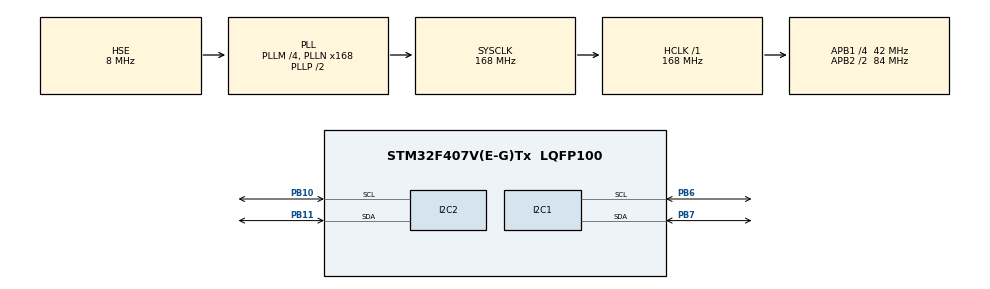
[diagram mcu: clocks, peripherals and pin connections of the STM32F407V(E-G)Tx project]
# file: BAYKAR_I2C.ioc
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I2C1.I2C_Mode=I2C_Fast
I2C2.I2C_Mode=I2C_Fast
Mcu.Family=STM32F4
Mcu.Name=STM32F407V(E-G)Tx
Mcu.Package=LQFP100
NVIC.I2C1_EV_IRQn=true\:0\:0\:false\:false\:true\:true\:true\:true
NVIC.I2C2_EV_IRQn=true\:0\:0\:false\:false\:true\:true\:true\:true
NVIC.PriorityGroup=NVIC_PRIORITYGROUP_0
PA13.Mode=Serial_Wire
PA13.Signal=SYS_JTMS-SWDIO
PA14.Mode=Serial_Wire
PA14.Signal=SYS_JTCK-SWCLK
PB10.Mode=I2C
PB10.Signal=I2C2_SCL
PB11.Mode=I2C
PB11.Signal=I2C2_SDA
PB6.Mode=I2C
PB6.Signal=I2C1_SCL
PB7.Mode=I2C
PB7.Signal=I2C1_SDA
PH0-OSC_IN.Mode=HSE-External-Oscillator
PH0-OSC_IN.Signal=RCC_OSC_IN
PH1-OSC_OUT.Mode=HSE-External-Oscillator
PH1-OSC_OUT.Signal=RCC_OSC_OUT
ProjectManager.HeapSize=0x200
ProjectManager.StackSize=0x400
ProjectManager.TargetToolchain=STM32CubeIDE
RCC.48MHZClocksFreq_Value=48000000
RCC.AHBFreq_Value=168000000
RCC.APB1CLKDivider=RCC_HCLK_DIV4
RCC.APB1Freq_Value=42000000
RCC.APB1TimFreq_Value=84000000
RCC.APB2CLKDivider=RCC_HCLK_DIV2
RCC.APB2Freq_Value=84000000
RCC.APB2TimFreq_Value=168000000
RCC.CortexFreq_Value=168000000
RCC.HCLKFreq_Value=168000000
RCC.HSE_VALUE=8000000
RCC.HSI_VALUE=16000000
RCC.LSE_VALUE=32768
RCC.PLLM=4
RCC.PLLN=168
RCC.PLLQ=7
RCC.PLLSourceVirtual=RCC_PLLSOURCE_HSE
RCC.SYSCLKFreq_VALUE=168000000
RCC.SYSCLKSource=RCC_SYSCLKSOURCE_PLLCLK
RCC.VCOOutputFreq_Value=336000000
board=STM32F407G-DISC1

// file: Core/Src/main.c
/* USER CODE BEGIN Header */
/**
  ******************************************************************************
  * @file           : main.c
  * @brief          : Main program body
  ******************************************************************************
  * @attention
  *
  * Copyright (c) 2022 STMicroelectronics.
  * All rights reserved.
  *
  * This software is licensed under terms that can be found in the LICENSE file
  * in the root directory of this software component.
  * If no LICENSE file comes with this software, it is provided AS-IS.
  *
  ******************************************************************************
  */
/* USER CODE END Header */
#include "main.h"

 I2C_HandleTypeDef hi2c1;
I2C_HandleTypeDef hi2c2;

void SystemClock_Config(void);
static void MX_GPIO_Init(void);
static void MX_I2C1_Init(void);
static void MX_I2C2_Init(void);
/* USER CODE BEGIN PFP */
char i2c_veri[4] = {'\0','\0','\0','\0'};
uint8_t dataRx[5];

/* USER CODE END PFP */

int main(void)
{

  /* MCU Configuration--------------------------------------------------------*/

  /* Reset of all peripherals, Initializes the Flash interface and the Systick. */
  HAL_Init();

  /* Configure the system clock */
  SystemClock_Config();

  /* Initialize all configured peripherals */
  MX_GPIO_Init();
  MX_I2C1_Init();
  MX_I2C2_Init();
  /* USER CODE BEGIN 2 */
  if(HAL_I2C_Slave_Receive_IT(&hi2c2, dataRx, 5)!=HAL_OK){
	  Error_Handler();
  }
  /* USER CODE END 2 */

  /* Infinite loop */
  while (1)
  {

  }
}

void SystemClock_Config(void)
{
  RCC_OscInitTypeDef RCC_OscInitStruct = {0};
  RCC_ClkInitTypeDef RCC_ClkInitStruct = {0};

  /** Configure the main internal regulator output voltage
  */
  __HAL_RCC_PWR_CLK_ENABLE();
  __HAL_PWR_VOLTAGESCALING_CONFIG(PWR_REGULATOR_VOLTAGE_SCALE1);

  /** Initializes the RCC Oscillators according to the specified parameters
  * in the RCC_OscInitTypeDef structure.
  */
  RCC_OscInitStruct.OscillatorType = RCC_OSCILLATORTYPE_HSE;
  RCC_OscInitStruct.HSEState = RCC_HSE_ON;
  RCC_OscInitStruct.PLL.PLLState = RCC_PLL_ON;
  RCC_OscInitStruct.PLL.PLLSource = RCC_PLLSOURCE_HSE;
  RCC_OscInitStruct.PLL.PLLM = 4;
  RCC_OscInitStruct.PLL.PLLN = 168;
  RCC_OscInitStruct.PLL.PLLP = RCC_PLLP_DIV2;
  RCC_OscInitStruct.PLL.PLLQ = 7;
  if (HAL_RCC_OscConfig(&RCC_OscInitStruct) != HAL_OK)
  {
    Error_Handler();
  }

  /** Initializes the CPU, AHB and APB buses clocks
  */
  RCC_ClkInitStruct.ClockType = RCC_CLOCKTYPE_HCLK|RCC_CLOCKTYPE_SYSCLK
                              |RCC_CLOCKTYPE_PCLK1|RCC_CLOCKTYPE_PCLK2;
  RCC_ClkInitStruct.SYSCLKSource = RCC_SYSCLKSOURCE_PLLCLK;
  RCC_ClkInitStruct.AHBCLKDivider = RCC_SYSCLK_DIV1;
  RCC_ClkInitStruct.APB1CLKDivider = RCC_HCLK_DIV4;
  RCC_ClkInitStruct.APB2CLKDivider = RCC_HCLK_DIV2;

  if (HAL_RCC_ClockConfig(&RCC_ClkInitStruct, FLASH_LATENCY_5) != HAL_OK)
  {
    Error_Handler();
  }
}

static void MX_I2C1_Init(void)
{

  hi2c1.Instance = I2C1;
  hi2c1.Init.ClockSpeed = 400000;
  hi2c1.Init.DutyCycle = I2C_DUTYCYCLE_2;
  hi2c1.Init.OwnAddress1 = 0;
  hi2c1.Init.AddressingMode = I2C_ADDRESSINGMODE_7BIT;
  hi2c1.Init.DualAddressMode = I2C_DUALADDRESS_DISABLE;
  hi2c1.Init.OwnAddress2 = 0;
  hi2c1.Init.GeneralCallMode = I2C_GENERALCALL_DISABLE;
  hi2c1.Init.NoStretchMode = I2C_NOSTRETCH_DISABLE;
  if (HAL_I2C_Init(&hi2c1) != HAL_OK)
  {
    Error_Handler();
  }

}

static void MX_I2C2_Init(void)
{

  hi2c2.Instance = I2C2;
  hi2c2.Init.ClockSpeed = 400000;
  hi2c2.Init.DutyCycle = I2C_DUTYCYCLE_2;
  hi2c2.Init.OwnAddress1 = 0;
  hi2c2.Init.AddressingMode = I2C_ADDRESSINGMODE_7BIT;
  hi2c2.Init.DualAddressMode = I2C_DUALADDRESS_DISABLE;
  hi2c2.Init.OwnAddress2 = 0;
  hi2c2.Init.GeneralCallMode = I2C_GENERALCALL_DISABLE;
  hi2c2.Init.NoStretchMode = I2C_NOSTRETCH_DISABLE;
  if (HAL_I2C_Init(&hi2c2) != HAL_OK)
  {
    Error_Handler();
  }

}

static void MX_GPIO_Init(void)
{

  /* GPIO Ports Clock Enable */
  __HAL_RCC_GPIOH_CLK_ENABLE();
  __HAL_RCC_GPIOB_CLK_ENABLE();
  __HAL_RCC_GPIOA_CLK_ENABLE();

}

/* USER CODE BEGIN 4 */
void HAL_I2C_SlaveRxCpltCallback(I2C_HandleTypeDef *hi2c)
{
	HAL_I2C_Slave_Transmit(&hi2c2, (uint8_t*)i2c_veri, 5, HAL_MAX_DELAY);
	if(i2c_veri[0]<255){
		i2c_veri[0]++;
	}
	if(i2c_veri[0]==255 && i2c_veri[1]<255){
		i2c_veri[1]++;
	}
	if(i2c_veri[1]==255 && i2c_veri[2]<255){
		i2c_veri[2]++;
	}
	if(i2c_veri[2]==255 && i2c_veri[3]<255){
		i2c_veri[3]++;
	}
	if(i2c_veri[3]==255){
		memset(&i2c_veri,'\0',4);
	}
	if(HAL_I2C_Slave_Receive_IT(&hi2c2, dataRx, 5)!=HAL_OK){
		Error_Handler();
	}
}
/* USER CODE END 4 */

void Error_Handler(void)
{
  __disable_irq();
  while (1)
  {
  }
}
